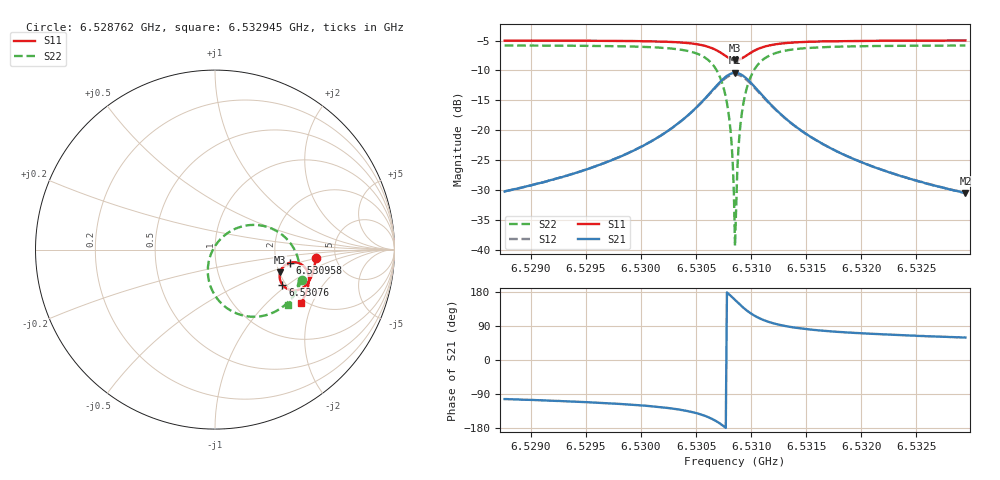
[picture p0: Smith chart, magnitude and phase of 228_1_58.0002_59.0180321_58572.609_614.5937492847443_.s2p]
#  HZ  S  RI  R  50.00
! Rohde & Schwarz Vector Network Analyzer
! Rohde-Schwarz,ZNB20-2Port,1311601062101988,3.16
! Created: UTC 3/21/2024, 1:00:26 AM
! freq[Hz]  re:S11  im:S11  re:S21  im:S21  re:S12  im:S12  re:S22  im:S22
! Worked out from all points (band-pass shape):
!   401 points, 6.528762 GHz to 6.532945 GHz, reference 50 ohm
!   highest |S21| = -10.39 dB at 6.530854 GHz (marker M1); lowest = -30.5 dB at 6.532945 GHz (marker M2)
!   |S21| within 3 dB of the highest: 6.530645 GHz to 6.531064 GHz (418.2 kHz wide, 0.0064 % of centre)
!   lowest |S11| = -8.3 dB at 6.530854 GHz (marker M3), VSWR 2.25, Z = 101 - j30.2 ohm
!   |S11| at or under -10 dB: nowhere
!   |S22| runs from -39.4 to -5.8 dB; largest |S21 - S12| = 0.012
!   S11 on the Smith chart (normalised r, x): 6.528762 GHz: 3.49, -0.49; 6.53076 GHz: 1.92, -0.91; 6.530958 GHz: 2.38, -0.42; 6.532945 GHz: 1.90, -1.66
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6.5287621e9  0.5603 -0.0481  -0.00695 -0.0298  -0.00751 -0.0298  0.4826 -0.1712
6.5294628e9  0.5511 -0.1064  -0.0161 -0.0426  -0.017 -0.0421  0.4513 -0.235
6.5301635e9  0.5242 -0.1761  -0.0492 -0.0732  -0.0513 -0.0717  0.3701 -0.3241
6.530404e9  0.4979 -0.2066  -0.0881 -0.0925  -0.091 -0.0894  0.2906 -0.3633
6.5305818e9  0.4551 -0.2265  -0.1553 -0.0991  -0.1577 -0.0926  0.1665 -0.3694
6.5306864e9  0.4106 -0.2223  -0.224 -0.0732  -0.2234 -0.0638  0.0511 -0.3139
6.5307596e9  0.3757 -0.1958  -0.2747 -0.0156  -0.2692 -0.0057  -0.024 -0.2079
6.5308014e9  0.3625 -0.1684  -0.2905 0.0365  -0.2818 0.0446  -0.0402 -0.1186
6.5308223e9  0.36 -0.1523  -0.2912 0.0661  -0.2814 0.0727  -0.0356 -0.0699
6.5308328e9  0.3601 -0.1439  -0.2894 0.0811  -0.2791 0.0868  -0.0297 -0.0457
6.5308433e9  0.3611 -0.1355  -0.286 0.0962  -0.2755 0.1008  -0.0214 -0.0218
6.5308537e9  0.3629 -0.1273  -0.2812 0.1109  -0.2704 0.1144  -0.0106 0.00106
6.5308642e9  0.3658 -0.1192  -0.2748 0.125  -0.264 0.1276  0.00222 0.023
6.5308746e9  0.3693 -0.1116  -0.2672 0.1382  -0.2566 0.1401  0.0172 0.0431
6.5308851e9  0.3736 -0.1044  -0.2583 0.1505  -0.248 0.1516  0.034 0.062
6.530906e9  0.3843 -0.0919  -0.2378 0.1722  -0.2282 0.1715  0.0716 0.0932
6.5309583e9  0.4167 -0.0733  -0.1785 0.204  -0.1715 0.2011  0.1754 0.1344
6.5310315e9  0.4592 -0.073  -0.1041 0.2062  -0.1004 0.2033  0.2999 0.1233
6.5311361e9  0.4964 -0.0946  -0.0401 0.1759  -0.0383 0.1741  0.4028 0.0562
6.5315544e9  0.5233 -0.1737  0.0152 0.085  0.0162 0.0846  0.4723 -0.1339
6.5322551e9  0.5055 -0.2455  0.0174 0.0407  0.0182 0.0406  0.443 -0.2491
6.5329453e9  0.4795 -0.2975  0.0152 0.0255  0.0158 0.0253  0.4078 -0.3089
